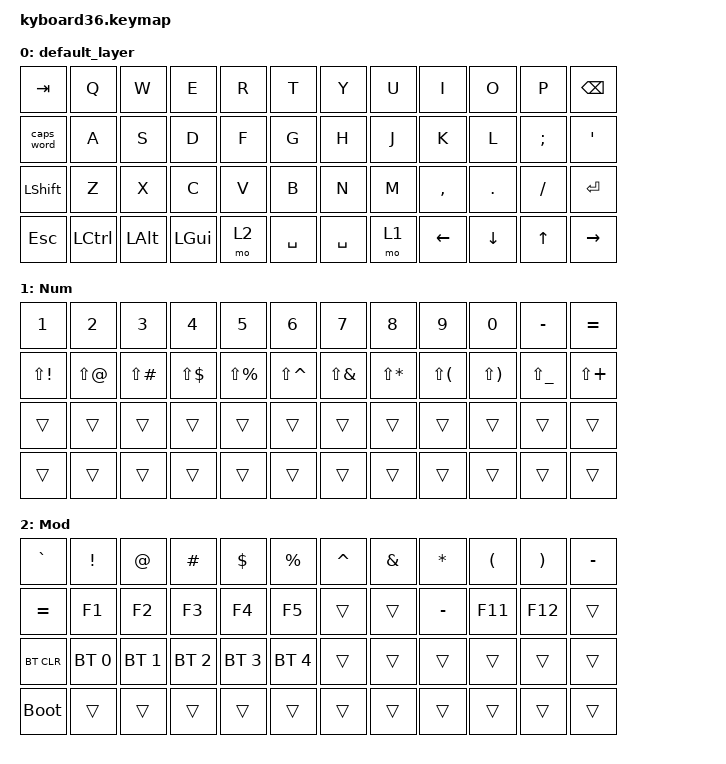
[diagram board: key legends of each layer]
/*
 * Copyright (c) 2021 The ZMK Contributors
 *
 * SPDX-License-Identifier: MIT
 */

#include <behaviors.dtsi>
#include <dt-bindings/zmk/bt.h>
#include <dt-bindings/zmk/keys.h>

#define DEFAULT 0
#define LOWER 1

/ {
    keymap {
        compatible = "zmk,keymap";

        default_layer {
            bindings = <
&kp TAB     &kp Q      &kp W     &kp E     &kp R  &kp T      &kp Y      &kp U  &kp I      &kp O     &kp P      &kp BSPC
&caps_word  &kp A      &kp S     &kp D     &kp F  &kp G      &kp H      &kp J  &kp K      &kp L     &kp SEMI   &kp SQT
&kp LSHFT   &kp Z      &kp X     &kp C     &kp V  &kp B      &kp N      &kp M  &kp COMMA  &kp DOT   &kp SLASH  &kp ENTER
&kp ESC     &kp LCTRL  &kp LALT  &kp LGUI  &mo 2  &kp SPACE  &kp SPACE  &mo 1  &kp LEFT   &kp DOWN  &kp UP     &kp RIGHT
            >;
        };

        Num {
            bindings = <
&kp N1        &kp N2      &kp N3         &kp N4        &kp N5         &kp N6         &kp N7        &kp N8        &kp N9        &kp N0        &kp MINUS      &kp EQUAL
&kp LS(EXCL)  &kp LS(AT)  &kp LS(POUND)  &kp LS(DLLR)  &kp LS(PRCNT)  &kp LS(CARET)  &kp LS(AMPS)  &kp LS(STAR)  &kp LS(LPAR)  &kp LS(RPAR)  &kp LS(UNDER)  &kp LS(PLUS)
&trans        &trans      &trans         &trans        &trans         &trans         &trans        &trans        &trans        &trans        &trans         &trans
&trans        &trans      &trans         &trans        &trans         &trans         &trans        &trans        &trans        &trans        &trans         &trans
            >;
        };

        Mod {
            bindings = <
&kp GRAVE    &kp EXCLAMATION  &kp AT_SIGN   &kp HASH      &kp DOLLAR    &kp PERCENT   &kp CARET  &kp AMPERSAND  &kp ASTERISK  &kp LEFT_PARENTHESIS  &kp RIGHT_PARENTHESIS  &kp MINUS
&kp EQUAL    &kp F1           &kp F2        &kp F3        &kp F4        &kp F5        &trans     &trans         &kp MINUS     &kp F11               &kp F12                &trans
&bt BT_CLR   &bt BT_SEL 0     &bt BT_SEL 1  &bt BT_SEL 2  &bt BT_SEL 3  &bt BT_SEL 4  &trans     &trans         &trans        &trans                &trans                 &trans
&bootloader  &trans           &trans        &trans        &trans        &trans        &trans     &trans         &trans        &trans                &trans                 &trans
            >;
        };
    };
};
